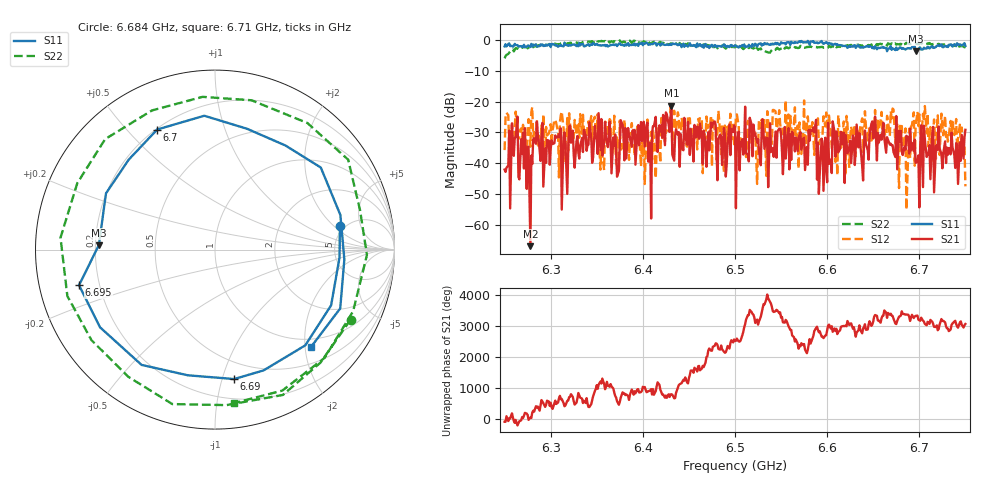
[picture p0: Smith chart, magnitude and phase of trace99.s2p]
# Hz S RI R 50
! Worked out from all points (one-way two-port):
!   401 points, 6.25 GHz to 6.75 GHz, reference 50 ohm
!   highest |S21| = -21.36 dB at 6.431 GHz (marker M1); lowest = -66.8 dB at 6.278 GHz (marker M2)
!   lowest |S11| = -3.8 dB at 6.696 GHz (marker M3), VSWR 4.68, Z = 10.7 + j0.916 ohm
!   |S11| at or under -10 dB: nowhere
!   |S22| runs from -6.0 to -0.2 dB; largest |S21 - S12| = 0.15
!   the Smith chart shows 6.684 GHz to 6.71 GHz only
!   S11 on the Smith chart (normalised r, x): 6.684 GHz: 4.54, +2.40; 6.69 GHz: 0.36, -1.09; 6.695 GHz: 0.12, -0.13; 6.7 GHz: 0.20, +0.61; 6.71 GHz: 0.82, -2.12
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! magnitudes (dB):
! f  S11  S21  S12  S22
! 6.25 GHz  -2.1  -42.0  -35.7  -6.0
! 6.261 GHz  -1.3  -31.7  -28.3  -3.2
! 6.278 GHz  -2.3  -66.8  -34.6  -2.4
! 6.284 GHz  -1.4  -33.6  -30.5  -2.1
! 6.334 GHz  -1.3  -31.8  -30.4  -0.9
! 6.355 GHz  -1.9  -25.6  -33.8  -0.4
! 6.361 GHz  -1.7  -32.5  -33.4  -0.5
! 6.418 GHz  -1.3  -27.7  -35.7  -0.9
! 6.431 GHz  -1.7  -21.4  -22.7  -1.6
! 6.5 GHz  -1.7  -28.3  -32.6  -2.4
! 6.584 GHz  -0.5  -29.5  -26.6  -2.4
! 6.594 GHz  -0.4  -32.0  -32.0  -2.3
! 6.609 GHz  -1.3  -37.8  -39.5  -1.8
! 6.668 GHz  -2.8  -33.9  -31.1  -1.4
! 6.684 GHz  -3.0  -34.6  -33.4  -1.4
! 6.69 GHz  -2.7  -28.7  -38.3  -1.3
! 6.695 GHz  -2.1  -32.3  -40.7  -1.4
! 6.696 GHz  -3.8  -39.8  -27.8  -1.2
! 6.7 GHz  -2.6  -54.2  -24.1  -1.3
! 6.71 GHz  -2.4  -37.0  -34.6  -1.3
! 6.738 GHz  -1.4  -37.4  -30.8  -1.9
! 6.75 GHz  -2.0  -29.1  -47.4  -2.3
